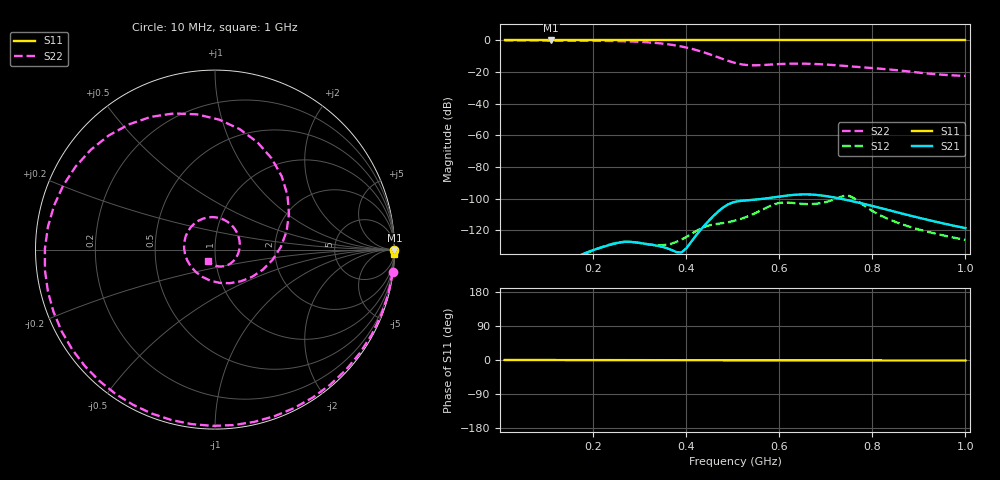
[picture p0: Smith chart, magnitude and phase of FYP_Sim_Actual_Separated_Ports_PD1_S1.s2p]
! Touchstone file from project FYP_Sim_Actual_Separated_Ports
! Exported from HFSS 13.0.2
# GHZ S MA R 50.000000
! Terminal data exported
! Port[1] = PD1_Void_Port_T1
! Port[2] = Radiating_Plate_T1
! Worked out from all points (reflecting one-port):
!   100 points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, 10 MHz to 1 GHz, reference 50 ohm
!   lowest |S11| = 0.0 dB at 110 MHz (marker M1)
!   phase of S11 starts at -0 deg and turns -1 deg over the sweep
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0.01  1 -0.0  1.527e-09 -77.3  7.549e-11 146.4  0.9983 -7.2
0.06  1 -0.1  4.157e-09 -46.5  4.42e-09 -34.8  0.9905 -42.6
0.11  1 -0.1  1.562e-08 -104.7  2.42e-08 -143.7  0.9843 -77.1
0.14  1 -0.2  8.229e-08 -49.6  7.769e-08 -87.4  0.9811 -97.5
0.18  1 -0.2  1.829e-07 -38.6  1.722e-07 -53.0  0.9766 -124.5
0.22  1 -0.3  2.955e-07 -17.7  2.992e-07 -15.2  0.9679 -151.9
0.26  1 -0.3  4.196e-07 35.0  4.238e-07 38.8  0.9476 179.7
0.3  1 -0.4  3.99e-07 118.2  4.03e-07 106.5  0.9041 149.2
0.34  1 -0.5  3.227e-07 161.1  3.369e-07 179.5  0.8213 115.8
0.36  1 -0.5  2.695e-07 162.6  3.552e-07 -140.4  0.7603 97.6
0.38  1 -0.5  2.031e-07 140.3  4.375e-07 -99.1  0.6854 78.5
0.4  1 -0.5  2.668e-07 82.0  6.142e-07 -56.8  0.5987 58.3
0.42  1 -0.6  6.535e-07 49.7  9.199e-07 -10.8  0.5052 37.0
0.44  1 -0.6  1.462e-06 32.8  1.297e-06 40.7  0.412 14.4
0.47  1 -0.6  4.08e-06 3.5  1.626e-06 111.8  0.2891 -22.8
0.51  1 -0.7  8.218e-06 -53.6  2.127e-06 174.6  0.1871 -82.2
0.55  1 -0.7  9.409e-06 -87.8  3.577e-06 -137.3  0.1642 -144.8
0.58  1 -0.8  1.06e-05 -103.3  5.856e-06 -94.5  0.1725 177.1
0.67  1 -0.9  1.348e-05 -148.5  6.792e-06 31.9  0.182 95.2
0.75  1 -1.0  8.784e-06 -166.2  1.228e-05 140.1  0.1531 35.0
0.84  1 -1.1  4.174e-06 -161.3  2.101e-06 -129.4  0.1197 -34.2
1  1 -1.3  1.178e-06 -162.2  5.027e-07 -99.0  0.07571 -121.2
